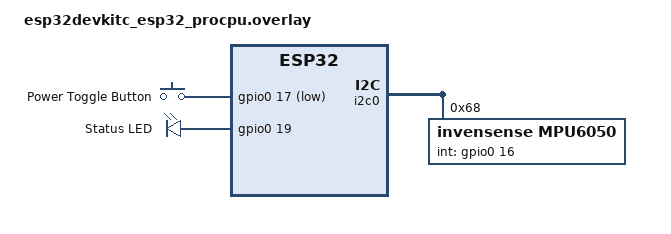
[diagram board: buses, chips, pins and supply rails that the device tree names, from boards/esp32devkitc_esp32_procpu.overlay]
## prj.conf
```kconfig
# initialize i2c and i2c for esp32 mcu
CONFIG_I2C=y
CONFIG_I2C_ESP32=y
# initialize gpio for IO btn and leds
CONFIG_GPIO=y
# initialize mpu6050 and sensor driver
CONFIG_SENSOR=y
CONFIG_MPU6050=y
# initialize driver logs for debugging
CONFIG_LOG=y
CONFIG_I2C_LOG_LEVEL_DBG=y
```

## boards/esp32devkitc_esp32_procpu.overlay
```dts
/**
 * Measure Acceleration using a MPU 6050 Accelerometer Sensor :
 * 	1. MPU 6050 Sensor is Powered by a GPIO, and can be Turned-Off using a Button Press,
 *	2. A Button is Connected and is Used to Toggle the MPU 6050 ON and OFF,
 *	3. If Turned On, the MPU 6050 Evaluates Acceleration Every 2s.
 *	Learnings:
 *		I2C Integration (GPIO 21, 22),
 *		Power Management using a GPIO Toggle,
 *		Toggle ON and OFF a LED using GPIO...
 */

/ {
	aliases {
		accelerometer = &mpu6050;
	};

	/* Button to Turn MPU 6050 ON and OFF */
	buttons {
		compatible = "gpio-keys";
		status = "okay";

		btn_0: btn_0 {
			gpios = <&gpio0 17 (GPIO_ACTIVE_LOW | GPIO_PULL_UP)>;
			label = "Power Toggle Button";
		};
	};

	/* LED to Display State of MPU 6050 */
	leds {
		compatible = "gpio-leds";
		status = "okay";

		led_0: led_0 {
			gpios = <&gpio0 19 GPIO_ACTIVE_HIGH>;
			label = "Status LED";
		};
	};
};

/**
 * Note: **ESP32 Dev Kit C** Common Board *.dtsi defines the Pin Ctrl and I2C Controller Nodes.
 * Therefore, They are re-referenced as a phandle using the & specifier and not included in the Root of the Overlay DTS file.
 */

/* Configure the Pin Control for I2C0 Bus */
&pinctrl {
	i2c0_default: i2c0_default {
		group1 {
			pinmux = <I2C0_SDA_GPIO21>, <I2C0_SCL_GPIO22>;
			bias-pull-up;
			drive-open-drain;
		};
	};
};

/* Attach the MPU6050 to the actual I2C0 Controller Bus */
&i2c0 {
	status = "okay";
	pinctrl-0 = <&i2c0_default>;
	pinctrl-names = "default";

	mpu6050: mpu6050@68 {
		compatible = "invensense,mpu6050";
		reg = <0x68>; /* default MPU 6050 I2C target address it can also be configured to the address 0x69 by connecting the AD0 pin */
		int-gpios = <&gpio0 16 GPIO_ACTIVE_HIGH>;
		status = "okay";
	};
};
```

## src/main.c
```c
#include <zephyr/kernel.h>

#include <zephyr/device.h>
#include <zephyr/devicetree.h>

#include <zephyr/drivers/sensor.h>

#define SENSOR_CHANNEL 0

const struct device *accelerometer = DEVICE_DT_GET(DT_ALIAS(accelerometer));

int main()
{
    struct sensor_value accel_data[3];

    if (!device_is_ready(accelerometer)) {
        printk("Accelerometer is Not Ready!\n");
        return -1;
    }

    int res;
    while(1) {
        res = sensor_sample_fetch(accelerometer);
        if (res == 0) {
            printk("Fetched Sensor Result!\n");
        } else {
            printk("Failure to Fetch from Accelerometer!\n");
            return res;
        }

        sensor_channel_get(accelerometer,
			SENSOR_CHAN_ACCEL_XYZ,
			accel_data);
            
            printk("\n----------------SENSOR DATA----------------\n");
            printk("Acceleration X: %d.%06d m/s^2\n", accel_data->val1, -(accel_data->val2));
            printk("Acceleration Y: %d.%06d m/s^2\n",
                +(accel_data + 1)->val1,
                -(accel_data + 1)->val2);
            printk("Acceleration Z: %d.%06d m/s^2\n",
                +(accel_data + 2)->val1,
                -(accel_data + 2)->val2);
            k_msleep(1000); /* yield for low priorty tasks */
    }

    return 0;
}
```
